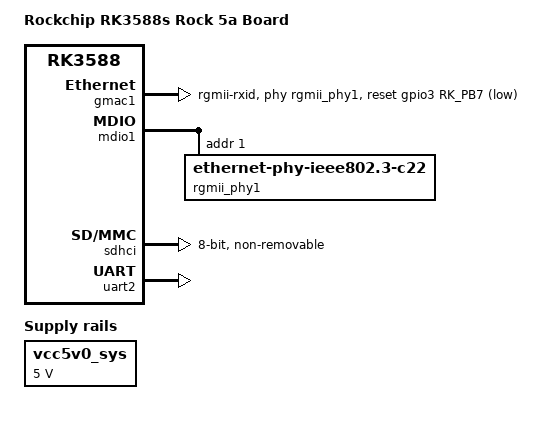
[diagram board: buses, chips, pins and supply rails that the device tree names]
// SPDX-License-Identifier: (GPL-2.0+ OR MIT)

/dts-v1/;

#include <dt-bindings/pinctrl/rockchip.h>
#include <dt-bindings/gpio/gpio.h>
#include "rk3588s.dtsi"

/ {
	model = "Rockchip RK3588s Rock 5a Board";
	compatible = "rockchip,rk3588s-rock-5a", "rockchip,rk3588";

	chosen {
		stdout-path = "serial2:1500000n8";
	};

	vcc5v0_sys: vcc5v0-sys {
		compatible = "regulator-fixed";
		regulator-name = "vcc5v0_sys";
		regulator-always-on;
		regulator-boot-on;
		regulator-min-microvolt = <5000000>;
		regulator-max-microvolt = <5000000>;
	};
};

&gmac1 {
	phy-mode = "rgmii-rxid";
	clock_in_out = "output";

	snps,reset-gpio = <&gpio3 RK_PB7 GPIO_ACTIVE_LOW>;
	snps,reset-active-low;
	/* Reset time is 20ms, 100ms for rtl8211f */
	snps,reset-delays-us = <0 20000 100000>;

	pinctrl-names = "default";
	pinctrl-0 = <&gmac1_miim
		     &gmac1_tx_bus2
		     &gmac1_rx_bus2
		     &gmac1_rgmii_clk
		     &gmac1_rgmii_bus>;

	tx_delay = <0x3a>;
	rx_delay = <0x3e>;

	phy-handle = <&rgmii_phy1>;
	status = "okay";
};

&mdio1 {
	rgmii_phy1: phy@1 {
		compatible = "ethernet-phy-ieee802.3-c22";
		reg = <0x1>;
		#phy-cells = <0>;
	};
};

&sdhci {
	bus-width = <8>;
	no-sdio;
	no-sd;
	non-removable;
	max-frequency = <200000000>;
	mmc-hs400-1_8v;
	mmc-hs400-enhanced-strobe;
	status = "okay";
};

&uart2 {
	pinctrl-0 = <&uart2m0_xfer>;
	status = "okay";
};
